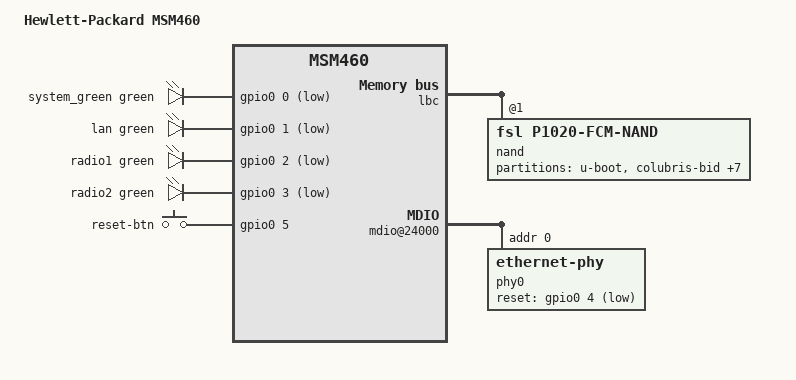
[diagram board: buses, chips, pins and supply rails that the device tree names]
// SPDX-License-Identifier: GPL-2.0-or-later or MIT

#include <dt-bindings/input/input.h>
#include <dt-bindings/gpio/gpio.h>
#include <dt-bindings/leds/common.h>

/include/ "fsl/p1020si-pre.dtsi"
/ {
	model = "Hewlett-Packard MSM460";
	compatible = "hpe,msm460";

	aliases {
		led-boot = &system_green;
		led-failsafe = &system_green;
		led-running = &system_green;
		led-upgrade = &system_green;
		label-mac-device = &enet0;
	};

	chosen {
		/* Needed for initramfs */
		bootargs-override = "console=ttyS0,115200 ubi.mtd=5,2048";
		stdout-path = &serial0;
	};

	memory {
		device_type = "memory";
	};

	lbc: localbus@ffe05000 {
		reg = <0 0xffe05000 0 0x1000>;
		ranges = <0x0 0x0 0x0 0xec000000 0x04000000>,
			  <0x1 0x0 0x0 0xff800000 0x00040000>,
			  <0x2 0x0 0x0 0xffa00000 0x00020000>,
			  <0x3 0x0 0x0 0xffb00000 0x00020000>;

		nand@1,0 {
			compatible = "fsl,p1020-fcm-nand", "fsl,elbc-fcm-nand";
			reg = <0x1 0x0 0x40000>;

			partitions {
				compatible = "fixed-partitions";
				#address-cells = <1>;
				#size-cells = <1>;

				partition@0 {
					reg = <0x0 0xc0000>;
					label = "u-boot";
					read-only;
				};

				partition@c0000 {
					reg = <0xc0000 0x40000>;
					label = "colubris-bid";
					read-only;

					nvmem-layout {
						compatible = "fixed-layout";
						#address-cells = <1>;
						#size-cells = <1>;

						macaddr_hwinfo_1f822: macaddr@1f822 {
							/* ETH */
							compatible = "mac-base";
							reg = <0x1f822 0x6>;
							#nvmem-cell-cells = <1>;
						};

						macaddr_hwinfo_1f9bd: macaddr@1f9bd {
							/* WLAN */
							compatible = "mac-base";
							reg = <0x1f9bd 0x6>;
							#nvmem-cell-cells = <1>;
						};
					};
				};

				/* uenv{0,1} and ubi occupy kernel and slash partitions */

				partition@100000 {
					reg = <0x100000 0x80000>;
					label = "uboot-env0";
				};

				partition@180000 {
					reg = <0x180000 0x80000>;
					label = "uboot-env1";
				};

				partition@200000 {
					reg = <0x200000 0x300000>;
					label = "reserved";
				};

				partition@500000 {
					reg = <0x500000 0x5f00000>;
					label = "ubi";
				};

				partition@6500000 {
					reg = <0x6500000 0x400000>;
					label = "pool";
					read-only;
				};

				partition@6900000 {
					reg = <0x6900000 0x15e0000>;
					label = "flash";
					read-only;
				};

				partition@7ee0000 {
					reg = <0x7ee0000 0x20000>;
					label = "pf";
					read-only;
				};

				/* BBT is at the end of the flash - 100000@7f00000 */
			};
		};
	};

	soc: soc@ffe00000 {
		ranges = <0x0 0x0 0xffe00000 0x100000>;

		i2c@3000 {
			status = "disabled";
		};

		gpio0: gpio-controller@fc00 {
		};

		mdio@24000 {
			phy0: ethernet-phy@0 {
				reg = <0x0>;
				reset-gpios = <&gpio0 4 GPIO_ACTIVE_LOW>;
				reset-assert-us = <10000>;
				reset-deassert-us = <10000>;
			};
		};

		enet0: ethernet@b0000 {
			phy-connection-type = "rgmii-id";
			phy-handle = <&phy0>;
			nvmem-cells = <&macaddr_hwinfo_1f822 0>;
			nvmem-cell-names = "mac-address";
		};

		enet1: ethernet@b1000 {
			status = "disabled";
		};

		enet2: ethernet@b2000 {
			status = "disabled";
		};

		usb@22000 {
			status = "disabled";
		};

		usb@23000 {
			status = "disabled";
		};
	};

	pci0: pcie@ffe09000 {
		ranges = <0x2000000 0x0 0xa0000000 0 0xa0000000 0x0 0x20000000>,
			  <0x1000000 0x0 0x00000000 0 0xffc10000 0x0 0x10000>;
		reg = <0 0xffe09000 0 0x1000>;
		pcie@0 {
			ranges = <0x2000000 0x0 0xa0000000
				  0x2000000 0x0 0xa0000000
				  0x0 0x20000000>,
				 <0x1000000 0x0 0x0
				  0x1000000 0x0 0x0
				  0x0 0x100000>;

			wifi@0,0 {
				reg = <0x0000 0 0 0 0>;
				nvmem-cells = <&macaddr_hwinfo_1f9bd 0>;
				nvmem-cell-names = "mac-address";
			};
		};
	};

	pci1: pcie@ffe0a000 {
		reg = <0 0xffe0a000 0 0x1000>;
		ranges = <0x2000000 0x0 0x80000000 0 0x80000000 0x0 0x20000000>,
			  <0x1000000 0x0 0x00000000 0 0xffc00000 0x0 0x10000>;
		pcie@0 {
			ranges = <0x2000000 0x0 0x80000000
				  0x2000000 0x0 0x80000000
				  0x0 0x20000000>,
				 <0x1000000 0x0 0x0
				  0x1000000 0x0 0x0
				  0x0 0x100000>;

			wifi@0,0 {
				reg = <0x0000 0 0 0 0>;
				nvmem-cells = <&macaddr_hwinfo_1f9bd 16>;
				nvmem-cell-names = "mac-address";
			};
		};
	};

	leds {
		compatible = "gpio-leds";

		system_green: power {
			gpios = <&gpio0 0 GPIO_ACTIVE_LOW>;
			color = <LED_COLOR_ID_GREEN>;
			function = LED_FUNCTION_POWER;
			default-state = "on";
		};

		lan {
			gpios = <&gpio0 1 GPIO_ACTIVE_LOW>;
			color = <LED_COLOR_ID_GREEN>;
			function = LED_FUNCTION_LAN;
		};

		radio1 {
			gpios = <&gpio0 2 GPIO_ACTIVE_LOW>;
			color = <LED_COLOR_ID_GREEN>;
			function = LED_FUNCTION_WLAN;
			function-enumerator = <1>;
			linux,default-trigger = "phy0tpt";
		};

		radio2 {
			gpios = <&gpio0 3 GPIO_ACTIVE_LOW>;
			color = <LED_COLOR_ID_GREEN>;
			function = LED_FUNCTION_WLAN;
			function-enumerator = <2>;
			linux,default-trigger = "phy1tpt";
		};
	};

	buttons {
		compatible = "gpio-keys";

		reset {
			label = "reset-btn";
			gpios = <&gpio0 5 GPIO_ACTIVE_HIGH>;
			linux,code = <KEY_RESTART>;
		};
	};
};
/include/ "fsl/p1020si-post.dtsi"
